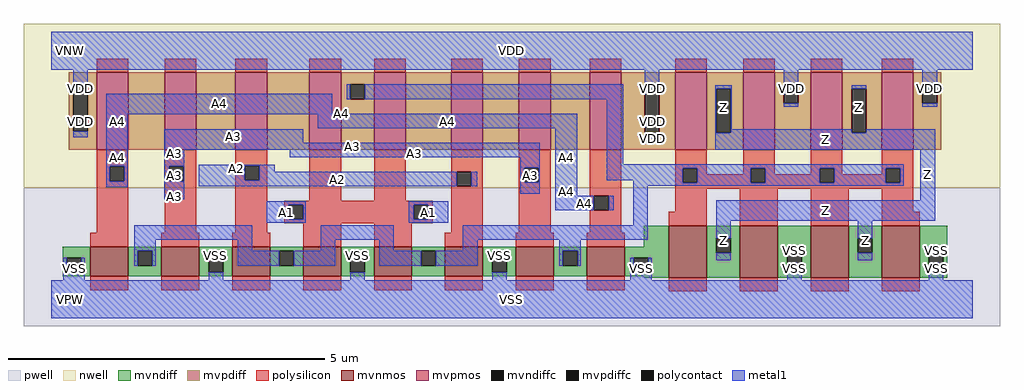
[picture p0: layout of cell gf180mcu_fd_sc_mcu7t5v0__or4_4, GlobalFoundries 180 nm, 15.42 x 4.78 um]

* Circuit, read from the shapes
.subckt gf180mcu_fd_sc_mcu7t5v0__or4_4 A1 A2 A3 A4 Z VDD VNW VPW VSS
XM1 n1 A4 VSS VPW nfet_06v0 w=0.465u l=0.6u m=2
XM2 VSS A3 n1 VPW nfet_06v0 w=0.465u l=0.6u m=2
XM3 n1 A2 VSS VPW nfet_06v0 w=0.465u l=0.6u m=2
XM4 VSS A1 n1 VPW nfet_06v0 w=0.465u l=0.6u m=2
XM5 Z n1 VSS VPW nfet_06v0 w=0.82u l=0.6u m=4
XM6 n2 A4 VDD VNW pfet_06v0 w=1.22u l=0.5u
XM7 n3 A3 n2 VNW pfet_06v0 w=1.22u l=0.5u
XM8 n4 A2 n3 VNW pfet_06v0 w=1.22u l=0.5u
XM9 n1 A1 n4 VNW pfet_06v0 w=1.22u l=0.5u
XM10 n5 A1 n1 VNW pfet_06v0 w=1.22u l=0.5u
XM11 n6 A2 n5 VNW pfet_06v0 w=1.22u l=0.5u
XM12 n7 A3 n6 VNW pfet_06v0 w=1.22u l=0.5u
XM13 VDD A4 n7 VNW pfet_06v0 w=1.22u l=0.5u
XM14 Z n1 VDD VNW pfet_06v0 w=1.22u l=0.5u m=4
.ends

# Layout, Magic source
magic
tech gf180mcuD
magscale 1 10
<< nwell >>
rect -86 352 2998 870
<< pwell >>
rect -86 -86 2998 352
<< mvnmos >>
rect 124 72 244 165
rect 348 72 468 165
rect 572 72 692 165
rect 796 72 916 165
rect 1020 72 1140 165
rect 1244 72 1364 165
rect 1468 72 1588 165
rect 1692 72 1812 165
rect 1952 68 2072 232
rect 2176 68 2296 232
rect 2400 68 2520 232
rect 2624 68 2744 232
<< mvpmos >>
rect 144 472 244 716
rect 358 472 458 716
rect 582 472 682 716
rect 816 472 916 716
rect 1020 472 1120 716
rect 1264 472 1364 716
rect 1478 472 1578 716
rect 1702 472 1802 716
rect 1972 472 2072 716
rect 2186 472 2286 716
rect 2400 472 2500 716
rect 2624 472 2724 716
<< mvndiff >>
rect 1872 165 1952 232
rect 36 131 124 165
rect 36 85 49 131
rect 95 85 124 131
rect 36 72 124 85
rect 244 152 348 165
rect 244 106 273 152
rect 319 106 348 152
rect 244 72 348 106
rect 468 131 572 165
rect 468 85 497 131
rect 543 85 572 131
rect 468 72 572 85
rect 692 152 796 165
rect 692 106 721 152
rect 767 106 796 152
rect 692 72 796 106
rect 916 131 1020 165
rect 916 85 945 131
rect 991 85 1020 131
rect 916 72 1020 85
rect 1140 152 1244 165
rect 1140 106 1169 152
rect 1215 106 1244 152
rect 1140 72 1244 106
rect 1364 131 1468 165
rect 1364 85 1393 131
rect 1439 85 1468 131
rect 1364 72 1468 85
rect 1588 152 1692 165
rect 1588 106 1617 152
rect 1663 106 1692 152
rect 1588 72 1692 106
rect 1812 131 1952 165
rect 1812 85 1841 131
rect 1887 85 1952 131
rect 1812 72 1952 85
rect 1872 68 1952 72
rect 2072 192 2176 232
rect 2072 146 2101 192
rect 2147 146 2176 192
rect 2072 68 2176 146
rect 2296 155 2400 232
rect 2296 109 2325 155
rect 2371 109 2400 155
rect 2296 68 2400 109
rect 2520 192 2624 232
rect 2520 146 2549 192
rect 2595 146 2624 192
rect 2520 68 2624 146
rect 2744 155 2832 232
rect 2744 109 2773 155
rect 2819 109 2832 155
rect 2744 68 2832 109
<< mvpdiff >>
rect 56 670 144 716
rect 56 530 69 670
rect 115 530 144 670
rect 56 472 144 530
rect 244 472 358 716
rect 458 472 582 716
rect 682 472 816 716
rect 916 678 1020 716
rect 916 632 945 678
rect 991 632 1020 678
rect 916 472 1020 632
rect 1120 472 1264 716
rect 1364 472 1478 716
rect 1578 472 1702 716
rect 1802 665 1972 716
rect 1802 525 1876 665
rect 1922 525 1972 665
rect 1802 472 1972 525
rect 2072 665 2186 716
rect 2072 525 2101 665
rect 2147 525 2186 665
rect 2072 472 2186 525
rect 2286 665 2400 716
rect 2286 619 2315 665
rect 2361 619 2400 665
rect 2286 472 2400 619
rect 2500 665 2624 716
rect 2500 525 2529 665
rect 2575 525 2624 665
rect 2500 472 2624 525
rect 2724 665 2812 716
rect 2724 619 2753 665
rect 2799 619 2812 665
rect 2724 472 2812 619
<< mvndiffc >>
rect 49 85 95 131
rect 273 106 319 152
rect 497 85 543 131
rect 721 106 767 152
rect 945 85 991 131
rect 1169 106 1215 152
rect 1393 85 1439 131
rect 1617 106 1663 152
rect 1841 85 1887 131
rect 2101 146 2147 192
rect 2325 109 2371 155
rect 2549 146 2595 192
rect 2773 109 2819 155
<< mvpdiffc >>
rect 69 530 115 670
rect 945 632 991 678
rect 1876 525 1922 665
rect 2101 525 2147 665
rect 2315 619 2361 665
rect 2529 525 2575 665
rect 2753 619 2799 665
<< polysilicon >>
rect 144 716 244 760
rect 358 716 458 760
rect 582 716 682 760
rect 816 716 916 760
rect 1020 716 1120 760
rect 1264 716 1364 760
rect 1478 716 1578 760
rect 1702 716 1802 760
rect 1972 716 2072 760
rect 2186 716 2286 760
rect 2400 716 2500 760
rect 2624 716 2724 760
rect 144 419 244 472
rect 144 373 185 419
rect 231 373 244 419
rect 144 209 244 373
rect 358 419 458 472
rect 358 373 373 419
rect 419 373 458 419
rect 358 209 458 373
rect 582 421 682 472
rect 582 375 611 421
rect 657 375 682 421
rect 582 209 682 375
rect 816 311 916 472
rect 1020 311 1120 472
rect 1264 402 1364 472
rect 1264 356 1281 402
rect 1327 356 1364 402
rect 737 298 1205 311
rect 737 252 750 298
rect 796 252 1146 298
rect 1192 252 1205 298
rect 737 239 1205 252
rect 124 165 244 209
rect 348 165 468 209
rect 572 165 692 209
rect 796 165 916 239
rect 1020 165 1140 239
rect 1264 209 1364 356
rect 1478 415 1578 472
rect 1478 369 1494 415
rect 1540 369 1578 415
rect 1478 209 1578 369
rect 1702 326 1802 472
rect 1702 280 1715 326
rect 1761 280 1802 326
rect 1702 209 1802 280
rect 1972 414 2072 472
rect 1972 368 1996 414
rect 2042 394 2072 414
rect 2186 414 2286 472
rect 2186 394 2210 414
rect 2042 368 2210 394
rect 2256 394 2286 414
rect 2400 414 2500 472
rect 2400 394 2428 414
rect 2256 368 2428 394
rect 2474 394 2500 414
rect 2624 414 2724 472
rect 2624 394 2637 414
rect 2474 368 2637 394
rect 2683 368 2724 414
rect 1972 348 2724 368
rect 1972 276 2072 348
rect 1952 232 2072 276
rect 2176 232 2296 348
rect 2400 232 2520 348
rect 2624 276 2724 348
rect 2624 232 2744 276
rect 1244 165 1364 209
rect 1468 165 1588 209
rect 1692 165 1812 209
rect 124 28 244 72
rect 348 28 468 72
rect 572 28 692 72
rect 796 28 916 72
rect 1020 28 1140 72
rect 1244 28 1364 72
rect 1468 28 1588 72
rect 1692 28 1812 72
rect 1952 24 2072 68
rect 2176 24 2296 68
rect 2400 24 2520 68
rect 2624 24 2744 68
<< polycontact >>
rect 185 373 231 419
rect 373 373 419 419
rect 611 375 657 421
rect 1281 356 1327 402
rect 750 252 796 298
rect 1146 252 1192 298
rect 1494 369 1540 415
rect 1715 280 1761 326
rect 1996 368 2042 414
rect 2210 368 2256 414
rect 2428 368 2474 414
rect 2637 368 2683 414
<< metal1 >>
rect 0 724 2912 844
rect 69 670 115 724
rect 69 511 115 530
rect 174 586 888 648
rect 934 632 945 678
rect 991 632 1808 678
rect 174 584 1662 586
rect 174 419 242 584
rect 842 540 1662 584
rect 174 373 185 419
rect 231 373 242 419
rect 174 353 242 373
rect 357 494 796 536
rect 357 472 1544 494
rect 357 419 420 472
rect 753 448 1544 472
rect 357 373 373 419
rect 419 373 420 419
rect 357 315 420 373
rect 466 421 707 424
rect 466 375 611 421
rect 657 402 707 421
rect 1482 415 1544 448
rect 657 375 1281 402
rect 466 356 1281 375
rect 1327 356 1346 402
rect 1482 369 1494 415
rect 1540 369 1544 415
rect 1482 333 1544 369
rect 1592 326 1662 540
rect 1756 426 1808 632
rect 1876 665 1922 724
rect 1876 506 1922 525
rect 2098 665 2150 676
rect 2098 525 2101 665
rect 2147 536 2150 665
rect 2315 665 2361 724
rect 2315 608 2361 619
rect 2529 665 2575 676
rect 2147 525 2529 536
rect 2753 665 2799 724
rect 2753 608 2799 619
rect 2575 525 2794 536
rect 2098 472 2794 525
rect 1756 414 2694 426
rect 1756 376 1996 414
rect 1839 368 1996 376
rect 2042 368 2210 414
rect 2256 368 2428 414
rect 2474 368 2637 414
rect 2683 368 2694 414
rect 1839 358 2694 368
rect 681 298 805 309
rect 681 252 750 298
rect 796 252 805 298
rect 681 241 805 252
rect 1129 298 1255 309
rect 1129 252 1146 298
rect 1192 252 1255 298
rect 1592 280 1715 326
rect 1761 280 1777 326
rect 1129 241 1255 252
rect 1839 234 1885 358
rect 2746 312 2794 472
rect 262 188 635 234
rect 262 152 330 188
rect 38 85 49 131
rect 95 85 106 131
rect 262 106 273 152
rect 319 106 330 152
rect 589 152 635 188
rect 852 188 1083 234
rect 852 152 898 188
rect 497 131 543 142
rect 38 60 106 85
rect 589 106 721 152
rect 767 106 898 152
rect 1037 152 1083 188
rect 1301 188 1885 234
rect 2101 248 2794 312
rect 2101 192 2147 248
rect 1301 152 1347 188
rect 945 131 991 142
rect 497 60 543 85
rect 1037 106 1169 152
rect 1215 106 1347 152
rect 1606 152 1674 188
rect 1393 131 1439 142
rect 945 60 991 85
rect 1606 106 1617 152
rect 1663 106 1674 152
rect 2549 192 2595 248
rect 1393 60 1439 85
rect 1830 85 1841 131
rect 1887 85 1898 131
rect 2101 123 2147 146
rect 2325 155 2371 166
rect 1830 60 1898 85
rect 2549 123 2595 146
rect 2773 155 2819 166
rect 2325 60 2371 109
rect 2773 60 2819 109
rect 0 -60 2912 60
<< labels >>
flabel metal1 s 357 494 796 536 0 FreeSans 400 0 0 0 A3
port 3 nsew default input
flabel metal1 s 174 586 888 648 0 FreeSans 400 0 0 0 A4
port 4 nsew default input
flabel metal1 s 0 724 2912 844 0 FreeSans 400 0 0 0 VDD
port 6 nsew power bidirectional abutment
flabel metal1 s 2773 142 2819 166 0 FreeSans 400 0 0 0 VSS
port 9 nsew ground bidirectional abutment
flabel metal1 s 2529 536 2575 676 0 FreeSans 400 0 0 0 Z
port 5 nsew default output
flabel metal1 s 681 241 805 309 0 FreeSans 400 0 0 0 A1
port 1 nsew default input
flabel metal1 s 466 402 707 424 0 FreeSans 400 0 0 0 A2
port 2 nsew default input
flabel nwell s 10 734 110 834 0 FreeSans 400 0 0 0 VNW
port 7 nsew power bidirectional
flabel pwell s 10 -50 110 50 0 FreeSans 400 0 0 0 VPW
port 8 nsew ground bidirectional
rlabel metal1 s 1129 241 1255 309 1 A1
port 1 nsew default input
rlabel metal1 s 466 356 1346 402 1 A2
port 2 nsew default input
rlabel metal1 s 357 472 1544 494 1 A3
port 3 nsew default input
rlabel metal1 s 753 448 1544 472 1 A3
port 3 nsew default input
rlabel metal1 s 357 448 420 472 1 A3
port 3 nsew default input
rlabel metal1 s 1482 333 1544 448 1 A3
port 3 nsew default input
rlabel metal1 s 357 333 420 448 1 A3
port 3 nsew default input
rlabel metal1 s 357 315 420 333 1 A3
port 3 nsew default input
rlabel metal1 s 174 584 1662 586 1 A4
port 4 nsew default input
rlabel metal1 s 842 540 1662 584 1 A4
port 4 nsew default input
rlabel metal1 s 174 540 242 584 1 A4
port 4 nsew default input
rlabel metal1 s 1592 353 1662 540 1 A4
port 4 nsew default input
rlabel metal1 s 174 353 242 540 1 A4
port 4 nsew default input
rlabel metal1 s 1592 326 1662 353 1 A4
port 4 nsew default input
rlabel metal1 s 1592 280 1777 326 1 A4
port 4 nsew default input
rlabel metal1 s 2098 536 2150 676 1 Z
port 5 nsew default output
rlabel metal1 s 2098 472 2794 536 1 Z
port 5 nsew default output
rlabel metal1 s 2746 312 2794 472 1 Z
port 5 nsew default output
rlabel metal1 s 2101 248 2794 312 1 Z
port 5 nsew default output
rlabel metal1 s 2549 123 2595 248 1 Z
port 5 nsew default output
rlabel metal1 s 2101 123 2147 248 1 Z
port 5 nsew default output
rlabel metal1 s 2753 608 2799 724 1 VDD
port 6 nsew power bidirectional abutment
rlabel metal1 s 2315 608 2361 724 1 VDD
port 6 nsew power bidirectional abutment
rlabel metal1 s 1876 608 1922 724 1 VDD
port 6 nsew power bidirectional abutment
rlabel metal1 s 69 608 115 724 1 VDD
port 6 nsew power bidirectional abutment
rlabel metal1 s 1876 511 1922 608 1 VDD
port 6 nsew power bidirectional abutment
rlabel metal1 s 69 511 115 608 1 VDD
port 6 nsew power bidirectional abutment
rlabel metal1 s 1876 506 1922 511 1 VDD
port 6 nsew power bidirectional abutment
rlabel metal1 s 2325 142 2371 166 1 VSS
port 9 nsew ground bidirectional abutment
rlabel metal1 s 2773 131 2819 142 1 VSS
port 9 nsew ground bidirectional abutment
rlabel metal1 s 2325 131 2371 142 1 VSS
port 9 nsew ground bidirectional abutment
rlabel metal1 s 1393 131 1439 142 1 VSS
port 9 nsew ground bidirectional abutment
rlabel metal1 s 945 131 991 142 1 VSS
port 9 nsew ground bidirectional abutment
rlabel metal1 s 497 131 543 142 1 VSS
port 9 nsew ground bidirectional abutment
rlabel metal1 s 2773 60 2819 131 1 VSS
port 9 nsew ground bidirectional abutment
rlabel metal1 s 2325 60 2371 131 1 VSS
port 9 nsew ground bidirectional abutment
rlabel metal1 s 1830 60 1898 131 1 VSS
port 9 nsew ground bidirectional abutment
rlabel metal1 s 1393 60 1439 131 1 VSS
port 9 nsew ground bidirectional abutment
rlabel metal1 s 945 60 991 131 1 VSS
port 9 nsew ground bidirectional abutment
rlabel metal1 s 497 60 543 131 1 VSS
port 9 nsew ground bidirectional abutment
rlabel metal1 s 38 60 106 131 1 VSS
port 9 nsew ground bidirectional abutment
rlabel metal1 s 0 -60 2912 60 1 VSS
port 9 nsew ground bidirectional abutment
<< properties >>
string FIXED_BBOX 0 0 2912 784
string GDS_END 182306
string GDS_FILE $PDKPATH/libs.ref/gf180mcu_fd_sc_mcu7t5v0/gds/gf180mcu_fd_sc_mcu7t5v0.gds
string GDS_START 176004
string LEFclass core
string LEFsite GF018hv5v_mcu_sc7
string LEFsymmetry X Y
<< end >>
